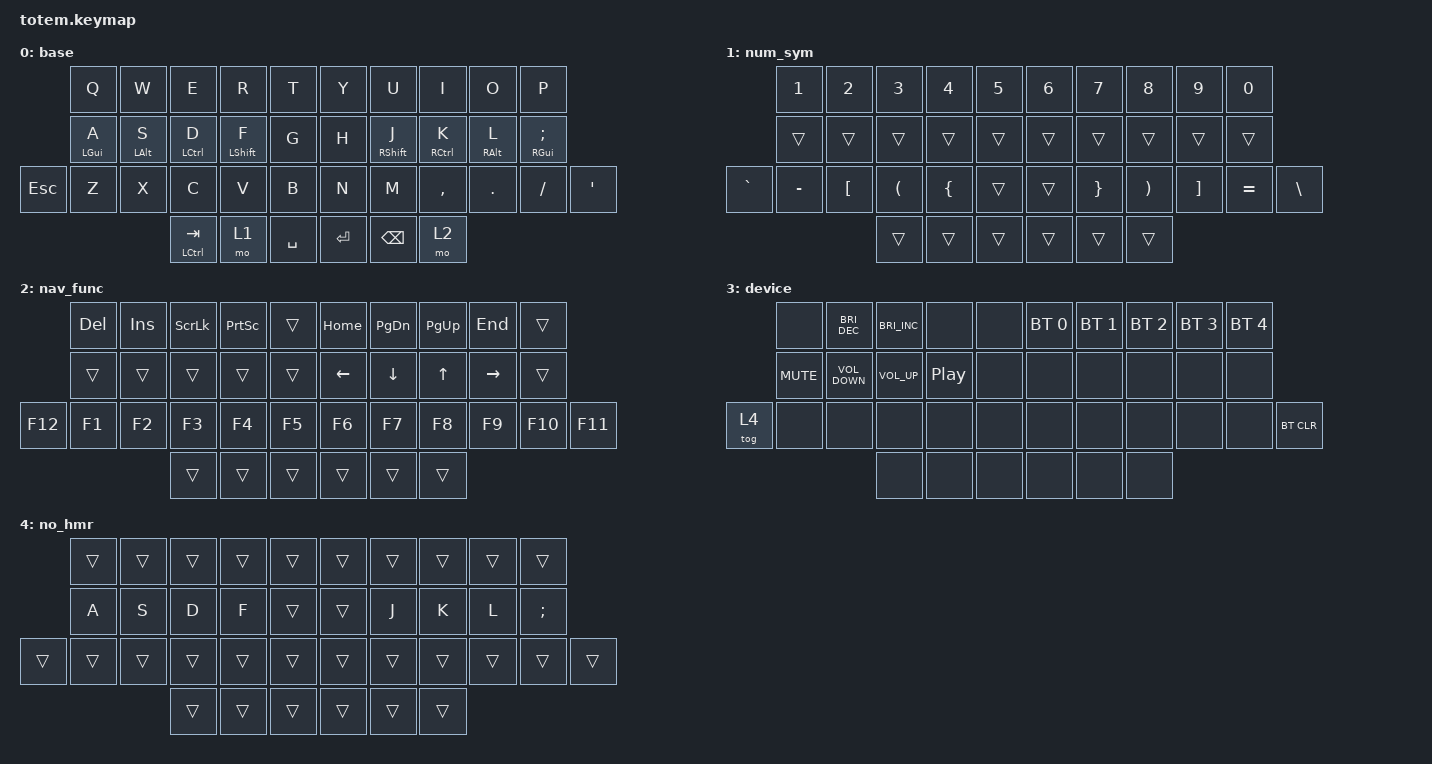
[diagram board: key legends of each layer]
//
//                                                        ▀▀▀▀▀     ▀▀▀▀▀          ▀▀█▀▀
//                                                        ▄▀▀▀▄  ▄  ▄▀▀▀▄  ▄  ▄▀▀▀▄  █  ▄▀▀▀▄
//                                                        █   █  █  █   █  █  █   █  █  █   █
//                                                         ▀▀▀   █   ▀▀▀   █   ▀▀▀   ▀   ▀▀▀
//                                                               █      ▄▄▄█▄▄▄    █   █  
//                                                               ▀      █  █  █     █▄█
//                                                             ▀▀▀▀▀    █  █  █      ▀
//                                                                      ▀  ▀  ▀
//
// ▄▄▄▄▄▄▄▄▄▄▄▄▄▄▄▄▄▄▄▄▄▄▄▄▄▄▄▄▄▄▄▄▄▄▄▄▄▄▄▄▄▄▄▄▄▄▄▄▄▄▄▄▄▄▄▄▄▄▄▄▄▄▄▄▄▄▄▄▄▄▄▄▄▄▄▄▄▄▄▄▄▄▄▄▄▄▄▄▄▄▄▄▄▄▄▄▄▄▄▄▄▄▄▄▄▄▄▄▄▄▄▄▄▄▄▄▄▄▄▄▄▄▄▄▄▄▄▄▄▄▄▄▄▄▄▄▄▄▄▄▄▄▄▄▄▄▄▄▄

#include <behaviors.dtsi>
#include <dt-bindings/zmk/bt.h>
#include <dt-bindings/zmk/keys.h>

/ {
    behaviors {
        mtl: mtl {
            compatible = "zmk,behavior-hold-tap";
            label = "MTL";
            bindings = <&kp>, <&kp>;

            #binding-cells = <2>;
            tapping-term-ms = <280>;
            quick-tap-ms = <175>;
            require-prior-idle-ms = <150>;
            flavor = "balanced";
            hold-trigger-on-release;
            hold-trigger-key-positions = <32 33 34 35 36 37 5 6 8 9 15 16 17 18 19 26 27 28 29 30 31 36 37 7>;
        };

        mtr: mtr {
            compatible = "zmk,behavior-hold-tap";
            label = "MTR";
            bindings = <&kp>, <&kp>;

            #binding-cells = <2>;
            tapping-term-ms = <280>;
            quick-tap-ms = <175>;
            require-prior-idle-ms = <150>;
            flavor = "balanced";
            hold-trigger-on-release;
            hold-trigger-key-positions = <0 1 2 3 4 10 11 12 13 14 20 21 22 23 24 25 32 33 34 35 36 37>;
        };
    };

    keymap {
        compatible = "zmk,keymap";

        base {
            bindings = <
            &kp Q            &kp W            &kp E                 &kp R              &kp T        &kp Y      &kp U               &kp I                 &kp O             &kp P
            &mtl LEFT_GUI A  &mtl LEFT_ALT S  &mtl LEFT_CONTROL D   &mtl LEFT_SHIFT F  &kp G        &kp H      &mtr RIGHT_SHIFT J  &mtr RIGHT_CONTROL K  &mtr RIGHT_ALT L  &mtr RIGHT_GUI SEMICOLON
&kp ESCAPE  &kp Z            &kp X            &kp C                 &kp V              &kp B        &kp N      &kp M               &kp COMMA             &kp DOT           &kp FSLH                  &kp APOS
                                              &mt LEFT_CONTROL TAB  &mo 1              &kp SPACE    &kp ENTER  &kp BACKSPACE       &mo 2
            >;
        };

        num_sym {
            bindings = <
           &kp N1     &kp N2            &kp N3                &kp N4          &kp N5    &kp N6  &kp N7           &kp N8                 &kp N9             &kp N0
           &trans     &trans            &trans                &trans          &trans    &trans  &trans           &trans                 &trans             &trans
&kp GRAVE  &kp MINUS  &kp LEFT_BRACKET  &kp LEFT_PARENTHESIS  &kp LEFT_BRACE  &trans    &trans  &kp RIGHT_BRACE  &kp RIGHT_PARENTHESIS  &kp RIGHT_BRACKET  &kp EQUAL  &kp BACKSLASH
                                        &trans                &trans          &trans    &trans  &trans           &trans
            >;
        };

        nav_func {
            bindings = <
         &kp DELETE  &kp INSERT  &kp SCROLLLOCK  &kp PRINTSCREEN  &trans    &kp HOME        &kp PAGE_DOWN   &kp PAGE_UP   &kp END          &trans
         &trans      &trans      &trans          &trans           &trans    &kp LEFT_ARROW  &kp DOWN_ARROW  &kp UP_ARROW  &kp RIGHT_ARROW  &trans
&kp F12  &kp F1      &kp F2      &kp F3          &kp F4           &kp F5    &kp F6          &kp F7          &kp F8        &kp F9           &kp F10  &kp F11
                                 &trans          &trans           &trans    &trans          &trans          &trans
            >;
        };

        device {
            bindings = <
        &none       &kp C_BRIGHTNESS_DEC  &kp C_BRIGHTNESS_INC  &none             &none    &bt BT_SEL 0  &bt BT_SEL 1  &bt BT_SEL 2  &bt BT_SEL 3  &bt BT_SEL 4
        &kp K_MUTE  &kp C_VOLUME_DOWN     &kp C_VOLUME_UP       &kp C_PLAY_PAUSE  &none    &none         &none         &none         &none         &none
&tog 4  &none       &none                 &none                 &none             &none    &none         &none         &none         &none         &none         &bt BT_CLR
                                          &none                 &none             &none    &none         &none         &none
            >;
        };

        no_hmr {
            bindings = <
        &trans  &trans  &trans  &trans  &trans    &trans  &trans  &trans  &trans  &trans
        &kp A   &kp S   &kp D   &kp F   &trans    &trans  &kp J   &kp K   &kp L   &kp SEMI
&trans  &trans  &trans  &trans  &trans  &trans    &trans  &trans  &trans  &trans  &trans    &trans
                        &trans  &trans  &trans    &trans  &trans  &trans
            >;
        };
    };

    conditional_layers {
        compatible = "zmk,conditional-layers";

        device {
            if-layers = <1 2>;
            then-layer = <3>;
        };
    };
};
